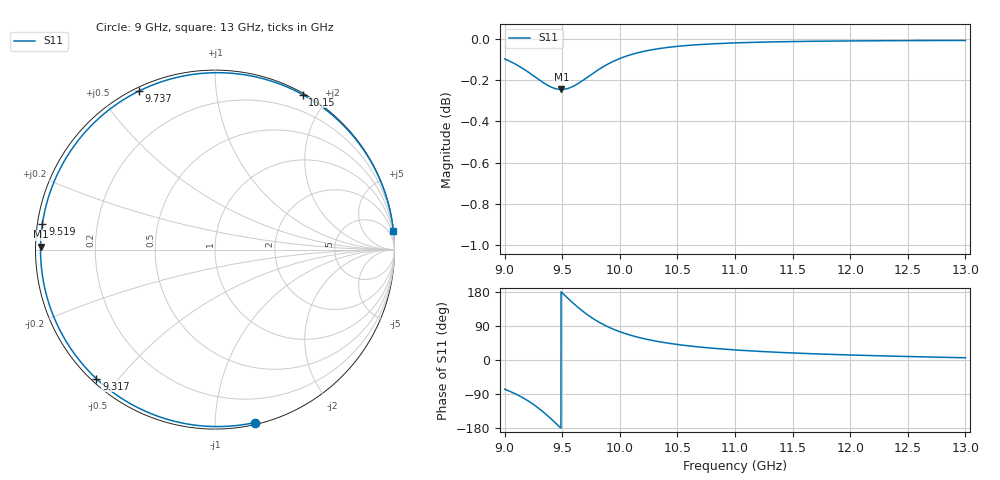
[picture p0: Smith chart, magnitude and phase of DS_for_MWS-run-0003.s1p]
! TOUCHSTONE file generated by CST DESIGN STUDIO
! Date and time: Tue Feb  4 12:25:17 2025
! Project name: C:\Work\MatlabApps\UnitCellOptimizationMatlab\CST\unitcell.cst
! Tree item: Tasks\Sweep1\SPara1\S-Parameters
! Header version: 2024
! Port assignment regex: !\s*Touchstone port\s*([0-9]+)\s*=\s*(CST MWS port|CST DES external port|CST DES block port)\s*(.+)\s* \(\"(.*)\"\)(\s*mode\s*([0-9]+))?.*
! Touchstone port assignment:
! Touchstone port 1 = CST DES external port 1 ("")
# GHz S MA R 50
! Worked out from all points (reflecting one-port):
!   4001 points, 9 GHz to 13 GHz, reference 50 ohm
!   lowest |S11| = -0.2 dB at 9.493 GHz (marker M1), VSWR 70.98, Z = 0.704 + j0.413 ohm
!   phase of S11 starts at -77 deg and turns -277 deg over the sweep
!   S11 on the Smith chart (normalised r, x): 9 GHz: 0.01, -1.25; 9.317 GHz: 0.01, -0.44; 9.519 GHz: 0.01, +0.07; 9.737 GHz: 0.01, +0.63; 10.15 GHz: 0.02, +1.71; 13 GHz: 0, +19
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9  0.989 -77.1
9.081  0.9865 -87.5
9.181  0.9828 -103.6
9.252  0.9796 -117.7
9.317  0.9767 -132.6
9.364  0.9748 -144.6
9.413  0.9733 -157.9
9.454  0.9725 -169.6
9.493  0.9722 179.1
9.5  0.9722 177.0
9.519  0.9723 171.5
9.572  0.9733 156.4
9.632  0.9752 140.2
9.684  0.9774 127.4
9.737  0.9797 115.6
9.791  0.9821 104.9
9.85  0.9845 94.7
9.924  0.987 83.9
10  0.9892 74.7
10.152  0.9923 60.5
10.31  0.9944 50.0
10.5  0.996 40.9
10.722  0.9971 33.4
11  0.9979 26.6
11.5  0.9986 18.6
12  0.999 13.2
12.5  0.9992 9.2
13  0.9993 5.9
